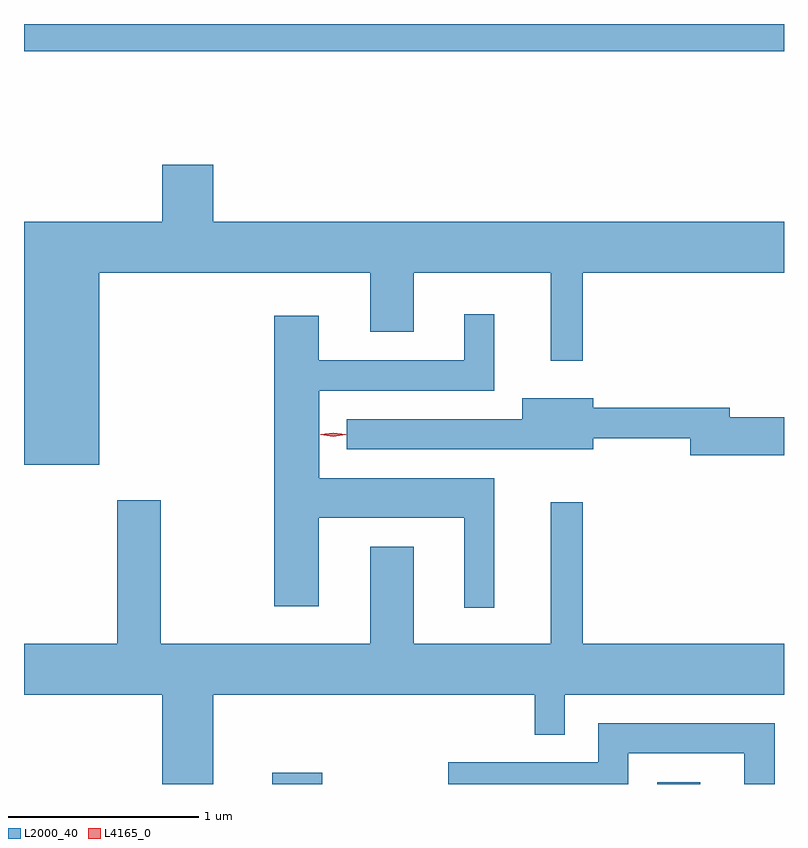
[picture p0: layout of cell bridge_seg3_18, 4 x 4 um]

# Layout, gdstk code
import gdstk
lib = gdstk.Library(unit=1e-6, precision=1e-09)
def R(c, l, rs):  # rectangles x0, y0, x1, y1
    for r in rs: c.add(gdstk.rectangle(r[:2], r[2:], *l))
def P(c, l, *ps):  # polygons
    for p in ps: c.add(gdstk.Polygon(p, *l))
L2000_40 = (2000, 40)
L4165_0 = (4165, 0)

bridge_seg3_18 = lib.new_cell('bridge_seg3_18')
R(bridge_seg3_18, L2000_40, [(1654.216,1163.285,1654.479,1163.344), (1656.241,1163.285,1656.469,1163.294), (1652.909,1167.141,1656.909,1167.285)])
P(bridge_seg3_18, L2000_40, [(1653.304,1165.976),(1654.731,1165.976),(1654.731,1165.666),(1654.959,1165.666),(1654.959,1165.976),(1655.681,1165.976),(1655.681,1165.513),(1655.849,1165.513),(1655.849,1165.976),(1656.909,1165.976),(1656.909,1166.244),(1653.904,1166.244),(1653.904,1166.544),(1653.636,1166.544),(1653.636,1166.244),(1652.909,1166.244),(1652.909,1164.966),(1653.304,1164.966)],
  [(1655.384,1164.894),(1654.464,1164.894),(1654.464,1165.356),(1655.384,1165.356),(1655.384,1165.758),(1655.226,1165.758),(1655.226,1165.514),(1654.459,1165.514),(1654.459,1165.749),(1654.226,1165.749),(1654.226,1164.221),(1654.459,1164.221),(1654.459,1164.686),(1655.226,1164.686),(1655.226,1164.213),(1655.384,1164.213)],
  [(1656.909,1165.214),(1656.624,1165.214),(1656.624,1165.264),(1655.904,1165.264),(1655.904,1165.314),(1655.531,1165.314),(1655.531,1165.204),(1654.608,1165.204),(1654.608,1165.046),(1655.904,1165.046),(1655.904,1165.106),(1656.416,1165.106),(1656.416,1165.016),(1656.909,1165.016)],
  [(1653.904,1163.756),(1655.596,1163.756),(1655.596,1163.543),(1655.754,1163.543),(1655.754,1163.756),(1656.909,1163.756),(1656.909,1164.024),(1655.849,1164.024),(1655.849,1164.768),(1655.681,1164.768),(1655.681,1164.024),(1654.959,1164.024),(1654.959,1164.534),(1654.731,1164.534),(1654.731,1164.024),(1653.629,1164.024),(1653.629,1164.779),(1653.401,1164.779),(1653.401,1164.024),(1652.909,1164.024),(1652.909,1163.756),(1653.636,1163.756),(1653.636,1163.285),(1653.904,1163.285)],
  [(1656.089,1163.446),(1656.701,1163.446),(1656.701,1163.285),(1656.859,1163.285),(1656.859,1163.604),(1655.931,1163.604),(1655.931,1163.399),(1655.141,1163.399),(1655.141,1163.285),(1656.089,1163.285)])
P(bridge_seg3_18, L4165_0, [(1654.537,1165.115),(1654.471,1165.124),(1654.47,1165.125),(1654.471,1165.126),(1654.537,1165.135),(1654.602,1165.126),(1654.603,1165.125),(1654.602,1165.124)],
  [(1654.537,1165.113),(1654.468,1165.123),(1654.467,1165.123),(1654.468,1165.124),(1654.537,1165.133),(1654.606,1165.124),(1654.606,1165.123),(1654.606,1165.123)])

lib.write_gds('bridge_seg3_18.gds')
